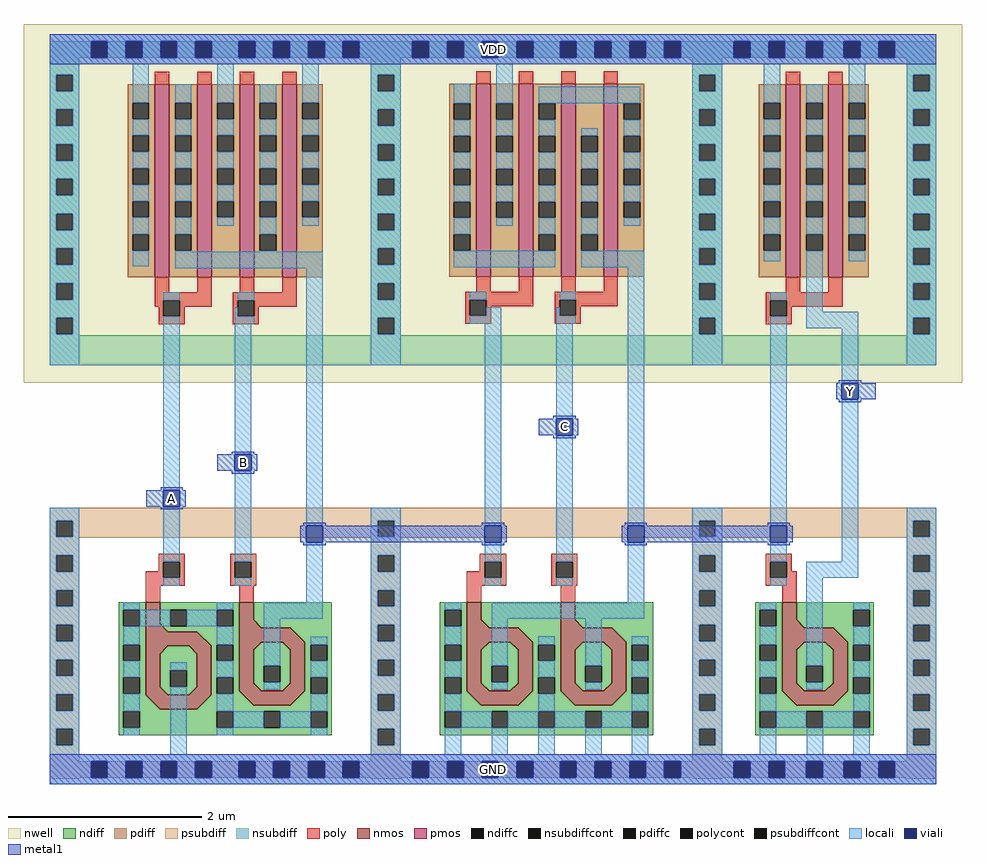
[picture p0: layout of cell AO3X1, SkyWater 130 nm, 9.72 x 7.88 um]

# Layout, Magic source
magic
tech sky130A
magscale 1 2
<< nwell >>
rect -84 832 1860 1575
<< nmos >>
rect 168 316 198 377
tri 198 316 214 332 sw
rect 362 324 392 377
tri 392 324 408 340 sw
rect 168 286 274 316
tri 274 286 304 316 sw
rect 362 294 468 324
tri 468 294 498 324 sw
rect 168 185 198 286
tri 198 270 214 286 nw
tri 258 270 274 286 ne
tri 198 185 214 201 sw
tri 258 185 274 201 se
rect 274 185 304 286
rect 362 193 392 294
tri 392 278 408 294 nw
tri 452 278 468 294 ne
tri 392 193 408 209 sw
tri 452 193 468 209 se
rect 468 193 498 294
tri 168 155 198 185 ne
rect 198 155 274 185
tri 274 155 304 185 nw
tri 362 163 392 193 ne
rect 392 163 468 193
tri 468 163 498 193 nw
rect 834 324 864 377
tri 864 324 880 340 sw
rect 1028 324 1058 377
tri 1058 324 1074 340 sw
rect 834 294 940 324
tri 940 294 970 324 sw
rect 834 193 864 294
tri 864 278 880 294 nw
tri 924 278 940 294 ne
tri 864 193 880 209 sw
tri 924 193 940 209 se
rect 940 193 970 294
rect 1028 294 1134 324
tri 1134 294 1164 324 sw
rect 1028 279 1059 294
tri 1059 279 1074 294 nw
tri 1118 279 1133 294 ne
rect 1133 279 1164 294
tri 834 163 864 193 ne
rect 864 163 940 193
tri 940 163 970 193 nw
rect 1028 193 1058 279
tri 1058 193 1074 209 sw
tri 1118 193 1134 209 se
rect 1134 193 1164 279
tri 1028 163 1058 193 ne
rect 1058 163 1134 193
tri 1134 163 1164 193 nw
rect 1487 324 1517 377
tri 1517 324 1533 340 sw
rect 1487 294 1593 324
tri 1593 294 1623 324 sw
rect 1487 193 1517 294
tri 1517 278 1533 294 nw
tri 1577 278 1593 294 ne
tri 1517 193 1533 209 sw
tri 1577 193 1593 209 se
rect 1593 193 1623 294
tri 1487 163 1517 193 ne
rect 1517 163 1593 193
tri 1593 163 1623 193 nw
<< pmos >>
rect 187 1050 217 1450
rect 275 1050 305 1450
rect 363 1050 393 1450
rect 451 1050 481 1450
rect 853 1051 883 1451
rect 941 1051 971 1451
rect 1029 1051 1059 1451
rect 1117 1051 1147 1451
rect 1495 1050 1525 1450
rect 1583 1050 1613 1450
<< ndiff >>
rect 112 361 168 377
rect 112 327 122 361
rect 156 327 168 361
rect 112 289 168 327
rect 198 361 362 377
rect 198 332 219 361
tri 198 316 214 332 ne
rect 214 327 219 332
rect 253 327 316 361
rect 350 327 362 361
rect 214 316 362 327
rect 392 340 554 377
tri 392 324 408 340 ne
rect 408 324 554 340
rect 112 255 122 289
rect 156 255 168 289
tri 274 286 304 316 ne
rect 304 289 362 316
tri 468 294 498 324 ne
rect 112 221 168 255
rect 112 187 122 221
rect 156 187 168 221
rect 112 155 168 187
tri 198 270 214 286 se
rect 214 270 258 286
tri 258 270 274 286 sw
rect 198 236 274 270
rect 198 202 219 236
rect 253 202 274 236
rect 198 201 274 202
tri 198 185 214 201 ne
rect 214 185 258 201
tri 258 185 274 201 nw
rect 304 255 316 289
rect 350 255 362 289
rect 304 221 362 255
rect 304 187 316 221
rect 350 187 362 221
tri 392 278 408 294 se
rect 408 278 452 294
tri 452 278 468 294 sw
rect 392 245 468 278
rect 392 211 413 245
rect 447 211 468 245
rect 392 209 468 211
tri 392 193 408 209 ne
rect 408 193 452 209
tri 452 193 468 209 nw
rect 498 289 554 324
rect 498 255 510 289
rect 544 255 554 289
rect 498 221 554 255
tri 168 155 198 185 sw
tri 274 155 304 185 se
rect 304 163 362 187
tri 362 163 392 193 sw
tri 468 163 498 193 se
rect 498 187 510 221
rect 544 187 554 221
rect 498 163 554 187
rect 304 155 554 163
rect 112 151 554 155
rect 112 117 122 151
rect 156 117 316 151
rect 350 117 413 151
rect 447 117 510 151
rect 544 117 554 151
rect 112 101 554 117
rect 778 361 834 377
rect 778 327 788 361
rect 822 327 834 361
rect 778 289 834 327
rect 864 340 1028 377
tri 864 324 880 340 ne
rect 880 324 1028 340
rect 1058 340 1220 377
tri 1058 324 1074 340 ne
rect 1074 324 1220 340
tri 940 294 970 324 ne
rect 778 255 788 289
rect 822 255 834 289
rect 778 221 834 255
rect 778 187 788 221
rect 822 187 834 221
tri 864 278 880 294 se
rect 880 278 924 294
tri 924 278 940 294 sw
rect 864 245 940 278
rect 864 211 885 245
rect 919 211 940 245
rect 864 209 940 211
tri 864 193 880 209 ne
rect 880 193 924 209
tri 924 193 940 209 nw
rect 970 289 1028 324
tri 1134 294 1164 324 ne
rect 970 255 982 289
rect 1016 255 1028 289
tri 1059 279 1074 294 se
rect 1074 279 1118 294
tri 1118 279 1133 294 sw
rect 1164 289 1220 324
rect 970 221 1028 255
rect 778 163 834 187
tri 834 163 864 193 sw
tri 940 163 970 193 se
rect 970 187 982 221
rect 1016 187 1028 221
rect 1058 245 1134 279
rect 1058 211 1079 245
rect 1113 211 1134 245
rect 1058 209 1134 211
tri 1058 193 1074 209 ne
rect 1074 193 1118 209
tri 1118 193 1134 209 nw
rect 1164 255 1176 289
rect 1210 255 1220 289
rect 1164 221 1220 255
rect 970 163 1028 187
tri 1028 163 1058 193 sw
tri 1134 163 1164 193 se
rect 1164 187 1176 221
rect 1210 187 1220 221
rect 1164 163 1220 187
rect 778 151 1220 163
rect 778 117 788 151
rect 822 117 885 151
rect 919 117 982 151
rect 1016 117 1079 151
rect 1113 117 1176 151
rect 1210 117 1220 151
rect 778 101 1220 117
rect 1431 361 1487 377
rect 1431 327 1441 361
rect 1475 327 1487 361
rect 1431 289 1487 327
rect 1517 361 1677 377
rect 1517 340 1635 361
tri 1517 324 1533 340 ne
rect 1533 327 1635 340
rect 1669 327 1677 361
rect 1533 324 1677 327
tri 1593 294 1623 324 ne
rect 1431 255 1441 289
rect 1475 255 1487 289
rect 1431 221 1487 255
rect 1431 187 1441 221
rect 1475 187 1487 221
tri 1517 278 1533 294 se
rect 1533 278 1577 294
tri 1577 278 1593 294 sw
rect 1517 245 1593 278
rect 1517 211 1537 245
rect 1571 211 1593 245
rect 1517 209 1593 211
tri 1517 193 1533 209 ne
rect 1533 193 1577 209
tri 1577 193 1593 209 nw
rect 1623 289 1677 324
rect 1623 255 1635 289
rect 1669 255 1677 289
rect 1623 221 1677 255
rect 1431 163 1487 187
tri 1487 163 1517 193 sw
tri 1593 163 1623 193 se
rect 1623 187 1635 221
rect 1669 187 1677 221
rect 1623 163 1677 187
rect 1431 151 1677 163
rect 1431 117 1441 151
rect 1475 117 1537 151
rect 1571 117 1635 151
rect 1669 117 1677 151
rect 1431 101 1677 117
<< pdiff >>
rect 131 1412 187 1450
rect 131 1378 141 1412
rect 175 1378 187 1412
rect 131 1344 187 1378
rect 131 1310 141 1344
rect 175 1310 187 1344
rect 131 1276 187 1310
rect 131 1242 141 1276
rect 175 1242 187 1276
rect 131 1208 187 1242
rect 131 1174 141 1208
rect 175 1174 187 1208
rect 131 1139 187 1174
rect 131 1105 141 1139
rect 175 1105 187 1139
rect 131 1050 187 1105
rect 217 1412 275 1450
rect 217 1378 229 1412
rect 263 1378 275 1412
rect 217 1344 275 1378
rect 217 1310 229 1344
rect 263 1310 275 1344
rect 217 1276 275 1310
rect 217 1242 229 1276
rect 263 1242 275 1276
rect 217 1208 275 1242
rect 217 1174 229 1208
rect 263 1174 275 1208
rect 217 1139 275 1174
rect 217 1105 229 1139
rect 263 1105 275 1139
rect 217 1050 275 1105
rect 305 1412 363 1450
rect 305 1378 317 1412
rect 351 1378 363 1412
rect 305 1344 363 1378
rect 305 1310 317 1344
rect 351 1310 363 1344
rect 305 1276 363 1310
rect 305 1242 317 1276
rect 351 1242 363 1276
rect 305 1208 363 1242
rect 305 1174 317 1208
rect 351 1174 363 1208
rect 305 1050 363 1174
rect 393 1412 451 1450
rect 393 1378 405 1412
rect 439 1378 451 1412
rect 393 1344 451 1378
rect 393 1310 405 1344
rect 439 1310 451 1344
rect 393 1276 451 1310
rect 393 1242 405 1276
rect 439 1242 451 1276
rect 393 1208 451 1242
rect 393 1174 405 1208
rect 439 1174 451 1208
rect 393 1139 451 1174
rect 393 1105 405 1139
rect 439 1105 451 1139
rect 393 1050 451 1105
rect 481 1412 535 1450
rect 481 1378 493 1412
rect 527 1378 535 1412
rect 481 1344 535 1378
rect 481 1310 493 1344
rect 527 1310 535 1344
rect 481 1276 535 1310
rect 481 1242 493 1276
rect 527 1242 535 1276
rect 481 1208 535 1242
rect 481 1174 493 1208
rect 527 1174 535 1208
rect 481 1050 535 1174
rect 797 1411 853 1451
rect 797 1377 807 1411
rect 841 1377 853 1411
rect 797 1343 853 1377
rect 797 1309 807 1343
rect 841 1309 853 1343
rect 797 1275 853 1309
rect 797 1241 807 1275
rect 841 1241 853 1275
rect 797 1207 853 1241
rect 797 1173 807 1207
rect 841 1173 853 1207
rect 797 1139 853 1173
rect 797 1105 807 1139
rect 841 1105 853 1139
rect 797 1051 853 1105
rect 883 1411 941 1451
rect 883 1377 895 1411
rect 929 1377 941 1411
rect 883 1343 941 1377
rect 883 1309 895 1343
rect 929 1309 941 1343
rect 883 1275 941 1309
rect 883 1241 895 1275
rect 929 1241 941 1275
rect 883 1207 941 1241
rect 883 1173 895 1207
rect 929 1173 941 1207
rect 883 1051 941 1173
rect 971 1411 1029 1451
rect 971 1377 983 1411
rect 1017 1377 1029 1411
rect 971 1343 1029 1377
rect 971 1309 983 1343
rect 1017 1309 1029 1343
rect 971 1275 1029 1309
rect 971 1241 983 1275
rect 1017 1241 1029 1275
rect 971 1207 1029 1241
rect 971 1173 983 1207
rect 1017 1173 1029 1207
rect 971 1139 1029 1173
rect 971 1105 983 1139
rect 1017 1105 1029 1139
rect 971 1051 1029 1105
rect 1059 1343 1117 1451
rect 1059 1309 1071 1343
rect 1105 1309 1117 1343
rect 1059 1275 1117 1309
rect 1059 1241 1071 1275
rect 1105 1241 1117 1275
rect 1059 1207 1117 1241
rect 1059 1173 1071 1207
rect 1105 1173 1117 1207
rect 1059 1139 1117 1173
rect 1059 1105 1071 1139
rect 1105 1105 1117 1139
rect 1059 1051 1117 1105
rect 1147 1411 1201 1451
rect 1147 1377 1159 1411
rect 1193 1377 1201 1411
rect 1147 1343 1201 1377
rect 1147 1309 1159 1343
rect 1193 1309 1201 1343
rect 1147 1275 1201 1309
rect 1147 1241 1159 1275
rect 1193 1241 1201 1275
rect 1147 1207 1201 1241
rect 1147 1173 1159 1207
rect 1193 1173 1201 1207
rect 1147 1051 1201 1173
rect 1439 1412 1495 1450
rect 1439 1378 1449 1412
rect 1483 1378 1495 1412
rect 1439 1344 1495 1378
rect 1439 1310 1449 1344
rect 1483 1310 1495 1344
rect 1439 1276 1495 1310
rect 1439 1242 1449 1276
rect 1483 1242 1495 1276
rect 1439 1208 1495 1242
rect 1439 1174 1449 1208
rect 1483 1174 1495 1208
rect 1439 1139 1495 1174
rect 1439 1105 1449 1139
rect 1483 1105 1495 1139
rect 1439 1050 1495 1105
rect 1525 1412 1583 1450
rect 1525 1378 1537 1412
rect 1571 1378 1583 1412
rect 1525 1344 1583 1378
rect 1525 1310 1537 1344
rect 1571 1310 1583 1344
rect 1525 1276 1583 1310
rect 1525 1242 1537 1276
rect 1571 1242 1583 1276
rect 1525 1208 1583 1242
rect 1525 1174 1537 1208
rect 1571 1174 1583 1208
rect 1525 1139 1583 1174
rect 1525 1105 1537 1139
rect 1571 1105 1583 1139
rect 1525 1050 1583 1105
rect 1613 1412 1667 1450
rect 1613 1378 1625 1412
rect 1659 1378 1667 1412
rect 1613 1344 1667 1378
rect 1613 1310 1625 1344
rect 1659 1310 1667 1344
rect 1613 1276 1667 1310
rect 1613 1242 1625 1276
rect 1659 1242 1667 1276
rect 1613 1208 1667 1242
rect 1613 1174 1625 1208
rect 1659 1174 1667 1208
rect 1613 1139 1667 1174
rect 1613 1105 1625 1139
rect 1659 1105 1667 1139
rect 1613 1050 1667 1105
<< ndiffc >>
rect 122 327 156 361
rect 219 327 253 361
rect 316 327 350 361
rect 122 255 156 289
rect 122 187 156 221
rect 219 202 253 236
rect 316 255 350 289
rect 316 187 350 221
rect 413 211 447 245
rect 510 255 544 289
rect 510 187 544 221
rect 122 117 156 151
rect 316 117 350 151
rect 413 117 447 151
rect 510 117 544 151
rect 788 327 822 361
rect 788 255 822 289
rect 788 187 822 221
rect 885 211 919 245
rect 982 255 1016 289
rect 982 187 1016 221
rect 1079 211 1113 245
rect 1176 255 1210 289
rect 1176 187 1210 221
rect 788 117 822 151
rect 885 117 919 151
rect 982 117 1016 151
rect 1079 117 1113 151
rect 1176 117 1210 151
rect 1441 327 1475 361
rect 1635 327 1669 361
rect 1441 255 1475 289
rect 1441 187 1475 221
rect 1537 211 1571 245
rect 1635 255 1669 289
rect 1635 187 1669 221
rect 1441 117 1475 151
rect 1537 117 1571 151
rect 1635 117 1669 151
<< pdiffc >>
rect 141 1378 175 1412
rect 141 1310 175 1344
rect 141 1242 175 1276
rect 141 1174 175 1208
rect 141 1105 175 1139
rect 229 1378 263 1412
rect 229 1310 263 1344
rect 229 1242 263 1276
rect 229 1174 263 1208
rect 229 1105 263 1139
rect 317 1378 351 1412
rect 317 1310 351 1344
rect 317 1242 351 1276
rect 317 1174 351 1208
rect 405 1378 439 1412
rect 405 1310 439 1344
rect 405 1242 439 1276
rect 405 1174 439 1208
rect 405 1105 439 1139
rect 493 1378 527 1412
rect 493 1310 527 1344
rect 493 1242 527 1276
rect 493 1174 527 1208
rect 807 1377 841 1411
rect 807 1309 841 1343
rect 807 1241 841 1275
rect 807 1173 841 1207
rect 807 1105 841 1139
rect 895 1377 929 1411
rect 895 1309 929 1343
rect 895 1241 929 1275
rect 895 1173 929 1207
rect 983 1377 1017 1411
rect 983 1309 1017 1343
rect 983 1241 1017 1275
rect 983 1173 1017 1207
rect 983 1105 1017 1139
rect 1071 1309 1105 1343
rect 1071 1241 1105 1275
rect 1071 1173 1105 1207
rect 1071 1105 1105 1139
rect 1159 1377 1193 1411
rect 1159 1309 1193 1343
rect 1159 1241 1193 1275
rect 1159 1173 1193 1207
rect 1449 1378 1483 1412
rect 1449 1310 1483 1344
rect 1449 1242 1483 1276
rect 1449 1174 1483 1208
rect 1449 1105 1483 1139
rect 1537 1378 1571 1412
rect 1537 1310 1571 1344
rect 1537 1242 1571 1276
rect 1537 1174 1571 1208
rect 1537 1105 1571 1139
rect 1625 1378 1659 1412
rect 1625 1310 1659 1344
rect 1625 1242 1659 1276
rect 1625 1174 1659 1208
rect 1625 1105 1659 1139
<< psubdiff >>
rect -31 546 1807 572
rect -31 512 -17 546
rect 17 512 649 546
rect 683 512 1315 546
rect 1349 512 1759 546
rect 1793 512 1807 546
rect -31 510 1807 512
rect -31 474 31 510
rect -31 440 -17 474
rect 17 440 31 474
rect -31 402 31 440
rect -31 368 -17 402
rect 17 368 31 402
rect 635 474 697 510
rect 635 440 649 474
rect 683 440 697 474
rect 635 402 697 440
rect -31 330 31 368
rect -31 296 -17 330
rect 17 296 31 330
rect -31 258 31 296
rect -31 224 -17 258
rect 17 224 31 258
rect -31 186 31 224
rect -31 152 -17 186
rect 17 152 31 186
rect -31 114 31 152
rect -31 80 -17 114
rect 17 80 31 114
rect 635 368 649 402
rect 683 368 697 402
rect 1301 474 1363 510
rect 1301 440 1315 474
rect 1349 440 1363 474
rect 1301 402 1363 440
rect 1745 474 1807 510
rect 635 330 697 368
rect 635 296 649 330
rect 683 296 697 330
rect 635 258 697 296
rect 635 224 649 258
rect 683 224 697 258
rect 635 186 697 224
rect 635 152 649 186
rect 683 152 697 186
rect 635 114 697 152
rect -31 47 31 80
rect 635 80 649 114
rect 683 80 697 114
rect 1301 368 1315 402
rect 1349 368 1363 402
rect 1745 440 1759 474
rect 1793 440 1807 474
rect 1745 402 1807 440
rect 1301 330 1363 368
rect 1301 296 1315 330
rect 1349 296 1363 330
rect 1301 258 1363 296
rect 1301 224 1315 258
rect 1349 224 1363 258
rect 1301 186 1363 224
rect 1301 152 1315 186
rect 1349 152 1363 186
rect 1301 114 1363 152
rect 635 47 697 80
rect 1301 80 1315 114
rect 1349 80 1363 114
rect 1745 368 1759 402
rect 1793 368 1807 402
rect 1745 330 1807 368
rect 1745 296 1759 330
rect 1793 296 1807 330
rect 1745 258 1807 296
rect 1745 224 1759 258
rect 1793 224 1807 258
rect 1745 186 1807 224
rect 1745 152 1759 186
rect 1793 152 1807 186
rect 1745 114 1807 152
rect 1301 47 1363 80
rect 1745 80 1759 114
rect 1793 80 1807 114
rect 1745 47 1807 80
rect -31 13 55 47
rect 89 13 127 47
rect 161 13 199 47
rect 233 13 271 47
rect 305 13 361 47
rect 395 13 433 47
rect 467 13 505 47
rect 539 13 577 47
rect 611 13 721 47
rect 755 13 793 47
rect 827 13 865 47
rect 899 13 937 47
rect 971 13 1027 47
rect 1061 13 1099 47
rect 1133 13 1171 47
rect 1205 13 1243 47
rect 1277 13 1387 47
rect 1421 13 1459 47
rect 1493 13 1537 47
rect 1571 13 1615 47
rect 1649 13 1687 47
rect 1721 13 1807 47
rect -31 11 31 13
rect 635 11 697 13
rect 1301 11 1363 13
rect 1745 11 1807 13
<< nsubdiff >>
rect -31 1505 55 1539
rect 89 1505 127 1539
rect 161 1505 199 1539
rect 233 1505 271 1539
rect 305 1505 361 1539
rect 395 1505 433 1539
rect 467 1505 505 1539
rect 539 1505 577 1539
rect 611 1505 721 1539
rect 755 1505 793 1539
rect 827 1505 865 1539
rect 899 1505 937 1539
rect 971 1505 1027 1539
rect 1061 1505 1099 1539
rect 1133 1505 1171 1539
rect 1205 1505 1243 1539
rect 1277 1505 1387 1539
rect 1421 1505 1459 1539
rect 1493 1505 1537 1539
rect 1571 1505 1615 1539
rect 1649 1505 1687 1539
rect 1721 1505 1807 1539
rect -31 1470 31 1505
rect -31 1436 -17 1470
rect 17 1436 31 1470
rect 635 1470 697 1505
rect -31 1398 31 1436
rect -31 1364 -17 1398
rect 17 1364 31 1398
rect -31 1326 31 1364
rect -31 1292 -17 1326
rect 17 1292 31 1326
rect -31 1254 31 1292
rect -31 1220 -17 1254
rect 17 1220 31 1254
rect -31 1182 31 1220
rect -31 1148 -17 1182
rect 17 1148 31 1182
rect -31 1110 31 1148
rect -31 1076 -17 1110
rect 17 1076 31 1110
rect -31 1038 31 1076
rect 635 1436 649 1470
rect 683 1436 697 1470
rect 1301 1470 1363 1505
rect 635 1398 697 1436
rect 635 1364 649 1398
rect 683 1364 697 1398
rect 635 1326 697 1364
rect 635 1292 649 1326
rect 683 1292 697 1326
rect 635 1254 697 1292
rect 635 1220 649 1254
rect 683 1220 697 1254
rect 635 1182 697 1220
rect 635 1148 649 1182
rect 683 1148 697 1182
rect 635 1110 697 1148
rect 635 1076 649 1110
rect 683 1076 697 1110
rect -31 1004 -17 1038
rect 17 1004 31 1038
rect -31 966 31 1004
rect -31 932 -17 966
rect 17 932 31 966
rect 635 1038 697 1076
rect 1301 1436 1315 1470
rect 1349 1436 1363 1470
rect 1745 1470 1807 1505
rect 1301 1398 1363 1436
rect 1301 1364 1315 1398
rect 1349 1364 1363 1398
rect 1301 1326 1363 1364
rect 1301 1292 1315 1326
rect 1349 1292 1363 1326
rect 1301 1254 1363 1292
rect 1301 1220 1315 1254
rect 1349 1220 1363 1254
rect 1301 1182 1363 1220
rect 1301 1148 1315 1182
rect 1349 1148 1363 1182
rect 1301 1110 1363 1148
rect 1301 1076 1315 1110
rect 1349 1076 1363 1110
rect 635 1004 649 1038
rect 683 1004 697 1038
rect 635 966 697 1004
rect -31 930 31 932
rect 635 932 649 966
rect 683 932 697 966
rect 1301 1038 1363 1076
rect 1745 1436 1759 1470
rect 1793 1436 1807 1470
rect 1745 1398 1807 1436
rect 1745 1364 1759 1398
rect 1793 1364 1807 1398
rect 1745 1326 1807 1364
rect 1745 1292 1759 1326
rect 1793 1292 1807 1326
rect 1745 1254 1807 1292
rect 1745 1220 1759 1254
rect 1793 1220 1807 1254
rect 1745 1182 1807 1220
rect 1745 1148 1759 1182
rect 1793 1148 1807 1182
rect 1745 1110 1807 1148
rect 1745 1076 1759 1110
rect 1793 1076 1807 1110
rect 1301 1004 1315 1038
rect 1349 1004 1363 1038
rect 1301 966 1363 1004
rect 635 930 697 932
rect 1301 932 1315 966
rect 1349 932 1363 966
rect 1745 1038 1807 1076
rect 1745 1004 1759 1038
rect 1793 1004 1807 1038
rect 1745 966 1807 1004
rect 1301 930 1363 932
rect 1745 932 1759 966
rect 1793 932 1807 966
rect 1745 930 1807 932
rect -31 868 1807 930
<< psubdiffcont >>
rect -17 512 17 546
rect 649 512 683 546
rect 1315 512 1349 546
rect 1759 512 1793 546
rect -17 440 17 474
rect -17 368 17 402
rect 649 440 683 474
rect -17 296 17 330
rect -17 224 17 258
rect -17 152 17 186
rect -17 80 17 114
rect 649 368 683 402
rect 1315 440 1349 474
rect 649 296 683 330
rect 649 224 683 258
rect 649 152 683 186
rect 649 80 683 114
rect 1315 368 1349 402
rect 1759 440 1793 474
rect 1315 296 1349 330
rect 1315 224 1349 258
rect 1315 152 1349 186
rect 1315 80 1349 114
rect 1759 368 1793 402
rect 1759 296 1793 330
rect 1759 224 1793 258
rect 1759 152 1793 186
rect 1759 80 1793 114
rect 55 13 89 47
rect 127 13 161 47
rect 199 13 233 47
rect 271 13 305 47
rect 361 13 395 47
rect 433 13 467 47
rect 505 13 539 47
rect 577 13 611 47
rect 721 13 755 47
rect 793 13 827 47
rect 865 13 899 47
rect 937 13 971 47
rect 1027 13 1061 47
rect 1099 13 1133 47
rect 1171 13 1205 47
rect 1243 13 1277 47
rect 1387 13 1421 47
rect 1459 13 1493 47
rect 1537 13 1571 47
rect 1615 13 1649 47
rect 1687 13 1721 47
<< nsubdiffcont >>
rect 55 1505 89 1539
rect 127 1505 161 1539
rect 199 1505 233 1539
rect 271 1505 305 1539
rect 361 1505 395 1539
rect 433 1505 467 1539
rect 505 1505 539 1539
rect 577 1505 611 1539
rect 721 1505 755 1539
rect 793 1505 827 1539
rect 865 1505 899 1539
rect 937 1505 971 1539
rect 1027 1505 1061 1539
rect 1099 1505 1133 1539
rect 1171 1505 1205 1539
rect 1243 1505 1277 1539
rect 1387 1505 1421 1539
rect 1459 1505 1493 1539
rect 1537 1505 1571 1539
rect 1615 1505 1649 1539
rect 1687 1505 1721 1539
rect -17 1436 17 1470
rect -17 1364 17 1398
rect -17 1292 17 1326
rect -17 1220 17 1254
rect -17 1148 17 1182
rect -17 1076 17 1110
rect 649 1436 683 1470
rect 649 1364 683 1398
rect 649 1292 683 1326
rect 649 1220 683 1254
rect 649 1148 683 1182
rect 649 1076 683 1110
rect -17 1004 17 1038
rect -17 932 17 966
rect 1315 1436 1349 1470
rect 1315 1364 1349 1398
rect 1315 1292 1349 1326
rect 1315 1220 1349 1254
rect 1315 1148 1349 1182
rect 1315 1076 1349 1110
rect 649 1004 683 1038
rect 649 932 683 966
rect 1759 1436 1793 1470
rect 1759 1364 1793 1398
rect 1759 1292 1793 1326
rect 1759 1220 1793 1254
rect 1759 1148 1793 1182
rect 1759 1076 1793 1110
rect 1315 1004 1349 1038
rect 1315 932 1349 966
rect 1759 1004 1793 1038
rect 1759 932 1793 966
<< poly >>
rect 187 1450 217 1476
rect 275 1450 305 1476
rect 363 1450 393 1476
rect 451 1450 481 1476
rect 853 1451 883 1477
rect 941 1451 971 1477
rect 1029 1451 1059 1477
rect 1117 1451 1147 1477
rect 187 1019 217 1050
rect 275 1019 305 1050
rect 363 1019 393 1050
rect 451 1019 481 1050
rect 187 1003 305 1019
rect 187 989 205 1003
rect 195 969 205 989
rect 239 989 305 1003
rect 349 1003 481 1019
rect 239 969 249 989
rect 195 953 249 969
rect 349 969 359 1003
rect 393 989 481 1003
rect 1495 1450 1525 1476
rect 1583 1450 1613 1476
rect 853 1020 883 1051
rect 941 1020 971 1051
rect 1029 1020 1059 1051
rect 1117 1020 1147 1051
rect 393 969 403 989
rect 349 953 403 969
rect 830 1004 971 1020
rect 830 970 840 1004
rect 874 990 971 1004
rect 1016 1004 1147 1020
rect 874 970 884 990
rect 830 954 884 970
rect 1016 970 1026 1004
rect 1060 990 1147 1004
rect 1495 1019 1525 1050
rect 1583 1019 1613 1050
rect 1060 970 1070 990
rect 1016 954 1070 970
rect 1453 1003 1613 1019
rect 1453 969 1463 1003
rect 1497 989 1613 1003
rect 1497 969 1507 989
rect 1453 953 1507 969
rect 195 461 249 477
rect 195 441 205 461
rect 168 427 205 441
rect 239 427 249 461
rect 168 411 249 427
rect 343 461 397 477
rect 343 427 353 461
rect 387 427 397 461
rect 343 411 397 427
rect 861 461 915 477
rect 861 441 871 461
rect 168 377 198 411
rect 362 377 392 411
rect 834 427 871 441
rect 905 427 915 461
rect 834 411 915 427
rect 1009 461 1063 477
rect 1009 427 1019 461
rect 1053 427 1063 461
rect 1009 411 1063 427
rect 834 377 864 411
rect 1028 377 1058 411
rect 1453 461 1507 477
rect 1453 427 1463 461
rect 1497 441 1507 461
rect 1497 427 1517 441
rect 1453 411 1517 427
rect 1487 377 1517 411
<< polycont >>
rect 205 969 239 1003
rect 359 969 393 1003
rect 840 970 874 1004
rect 1026 970 1060 1004
rect 1463 969 1497 1003
rect 205 427 239 461
rect 353 427 387 461
rect 871 427 905 461
rect 1019 427 1053 461
rect 1463 427 1497 461
<< locali >>
rect -31 1539 1807 1554
rect -31 1505 55 1539
rect 89 1505 127 1539
rect 161 1505 199 1539
rect 233 1505 271 1539
rect 305 1505 361 1539
rect 395 1505 433 1539
rect 467 1505 505 1539
rect 539 1505 577 1539
rect 611 1505 721 1539
rect 755 1505 793 1539
rect 827 1505 865 1539
rect 899 1505 937 1539
rect 971 1505 1027 1539
rect 1061 1505 1099 1539
rect 1133 1505 1171 1539
rect 1205 1505 1243 1539
rect 1277 1505 1387 1539
rect 1421 1505 1459 1539
rect 1493 1505 1537 1539
rect 1571 1505 1615 1539
rect 1649 1505 1687 1539
rect 1721 1505 1807 1539
rect -31 1492 1807 1505
rect -31 1470 31 1492
rect -31 1436 -17 1470
rect 17 1436 31 1470
rect -31 1398 31 1436
rect -31 1364 -17 1398
rect 17 1364 31 1398
rect -31 1326 31 1364
rect -31 1292 -17 1326
rect 17 1292 31 1326
rect -31 1254 31 1292
rect -31 1220 -17 1254
rect 17 1220 31 1254
rect -31 1182 31 1220
rect -31 1148 -17 1182
rect 17 1148 31 1182
rect -31 1110 31 1148
rect -31 1076 -17 1110
rect 17 1076 31 1110
rect -31 1038 31 1076
rect 141 1412 175 1492
rect 141 1344 175 1378
rect 141 1276 175 1310
rect 141 1208 175 1242
rect 141 1139 175 1174
rect 141 1073 175 1105
rect 229 1412 263 1450
rect 229 1344 263 1378
rect 229 1276 263 1310
rect 229 1208 263 1242
rect 229 1139 263 1174
rect 317 1412 351 1492
rect 317 1344 351 1378
rect 317 1276 351 1310
rect 317 1208 351 1242
rect 317 1157 351 1174
rect 405 1412 439 1450
rect 405 1344 439 1378
rect 405 1276 439 1310
rect 405 1208 439 1242
rect 229 1103 263 1105
rect 405 1139 439 1174
rect 493 1412 527 1492
rect 493 1344 527 1378
rect 493 1276 527 1310
rect 493 1208 527 1242
rect 493 1157 527 1174
rect 635 1470 697 1492
rect 635 1436 649 1470
rect 683 1436 697 1470
rect 635 1398 697 1436
rect 635 1364 649 1398
rect 683 1364 697 1398
rect 635 1326 697 1364
rect 635 1292 649 1326
rect 683 1292 697 1326
rect 635 1254 697 1292
rect 635 1220 649 1254
rect 683 1220 697 1254
rect 635 1182 697 1220
rect 405 1103 439 1105
rect 635 1148 649 1182
rect 683 1148 697 1182
rect 635 1110 697 1148
rect 229 1069 535 1103
rect -31 1004 -17 1038
rect 17 1004 31 1038
rect -31 966 31 1004
rect -31 932 -17 966
rect 17 932 31 966
rect -31 868 31 932
rect 205 1003 239 1019
rect 359 1003 393 1019
rect 205 609 239 969
rect -31 546 31 572
rect -31 512 -17 546
rect 17 512 31 546
rect -31 474 31 512
rect -31 440 -17 474
rect 17 440 31 474
rect -31 402 31 440
rect 205 461 239 575
rect 205 411 239 427
rect 353 969 359 988
rect 353 953 393 969
rect 353 683 387 953
rect 353 461 387 649
rect 353 411 387 427
rect 501 535 535 1069
rect 635 1076 649 1110
rect 683 1076 697 1110
rect 635 1038 697 1076
rect 807 1411 841 1451
rect 807 1343 841 1377
rect 807 1275 841 1309
rect 807 1207 841 1241
rect 807 1139 841 1173
rect 895 1411 929 1492
rect 1301 1470 1363 1492
rect 895 1343 929 1377
rect 895 1275 929 1309
rect 895 1207 929 1241
rect 895 1157 929 1173
rect 983 1411 1193 1445
rect 983 1343 1017 1377
rect 983 1275 1017 1309
rect 983 1207 1017 1241
rect 983 1139 1017 1173
rect 807 1071 1017 1105
rect 1071 1343 1105 1359
rect 1071 1275 1105 1309
rect 1071 1207 1105 1241
rect 1071 1139 1105 1173
rect 1159 1343 1193 1377
rect 1159 1275 1193 1309
rect 1159 1207 1193 1241
rect 1159 1157 1193 1173
rect 1301 1436 1315 1470
rect 1349 1436 1363 1470
rect 1301 1398 1363 1436
rect 1301 1364 1315 1398
rect 1349 1364 1363 1398
rect 1301 1326 1363 1364
rect 1301 1292 1315 1326
rect 1349 1292 1363 1326
rect 1301 1254 1363 1292
rect 1301 1220 1315 1254
rect 1349 1220 1363 1254
rect 1301 1182 1363 1220
rect 1301 1148 1315 1182
rect 1349 1148 1363 1182
rect 1301 1110 1363 1148
rect 1071 1071 1201 1105
rect 635 1004 649 1038
rect 683 1004 697 1038
rect 635 966 697 1004
rect 635 932 649 966
rect 683 932 697 966
rect 840 1004 874 1020
rect 1026 1004 1060 1020
rect 874 970 905 988
rect 840 954 905 970
rect 635 868 697 932
rect -31 368 -17 402
rect 17 368 31 402
rect -31 330 31 368
rect -31 296 -17 330
rect 17 296 31 330
rect -31 258 31 296
rect -31 224 -17 258
rect 17 224 31 258
rect -31 186 31 224
rect -31 152 -17 186
rect 17 152 31 186
rect -31 114 31 152
rect -31 80 -17 114
rect 17 80 31 114
rect 122 361 156 377
rect 316 361 350 377
rect 501 376 535 501
rect 156 327 219 361
rect 253 327 316 361
rect 122 289 156 327
rect 122 221 156 255
rect 316 289 350 327
rect 122 151 156 187
rect 122 101 156 117
rect 219 236 253 252
rect -31 62 31 80
rect 219 62 253 202
rect 316 221 350 255
rect 413 342 535 376
rect 635 546 697 572
rect 635 512 649 546
rect 683 512 697 546
rect 635 474 697 512
rect 635 440 649 474
rect 683 440 697 474
rect 635 402 697 440
rect 871 535 905 954
rect 871 461 905 501
rect 871 411 905 427
rect 1019 970 1026 988
rect 1019 954 1060 970
rect 1019 757 1053 954
rect 1019 461 1053 723
rect 1019 411 1053 427
rect 1167 535 1201 1071
rect 1301 1076 1315 1110
rect 1349 1076 1363 1110
rect 1449 1412 1483 1492
rect 1449 1344 1483 1378
rect 1449 1276 1483 1310
rect 1449 1208 1483 1242
rect 1449 1139 1483 1174
rect 1449 1083 1483 1105
rect 1537 1412 1571 1450
rect 1537 1344 1571 1378
rect 1537 1276 1571 1310
rect 1537 1208 1571 1242
rect 1537 1139 1571 1174
rect 1301 1038 1363 1076
rect 1301 1004 1315 1038
rect 1349 1004 1363 1038
rect 1301 966 1363 1004
rect 1301 932 1315 966
rect 1349 932 1363 966
rect 1301 868 1363 932
rect 1463 1003 1497 1019
rect 635 368 649 402
rect 683 368 697 402
rect 413 245 447 342
rect 635 330 697 368
rect 413 195 447 211
rect 510 289 544 305
rect 510 221 544 255
rect 316 151 350 187
rect 510 151 544 187
rect 350 117 413 151
rect 447 117 510 151
rect 316 101 350 117
rect 510 101 544 117
rect 635 296 649 330
rect 683 296 697 330
rect 635 258 697 296
rect 635 224 649 258
rect 683 224 697 258
rect 635 186 697 224
rect 635 152 649 186
rect 683 152 697 186
rect 635 114 697 152
rect 635 80 649 114
rect 683 80 697 114
rect 635 62 697 80
rect 788 361 822 377
rect 1167 376 1201 501
rect 788 289 822 327
rect 788 221 822 255
rect 885 342 1201 376
rect 1301 546 1363 572
rect 1301 512 1315 546
rect 1349 512 1363 546
rect 1301 474 1363 512
rect 1301 440 1315 474
rect 1349 440 1363 474
rect 1301 402 1363 440
rect 1463 535 1497 969
rect 1537 979 1571 1105
rect 1625 1412 1659 1492
rect 1625 1344 1659 1378
rect 1625 1276 1659 1310
rect 1625 1208 1659 1242
rect 1625 1139 1659 1174
rect 1625 1083 1659 1105
rect 1745 1470 1807 1492
rect 1745 1436 1759 1470
rect 1793 1436 1807 1470
rect 1745 1398 1807 1436
rect 1745 1364 1759 1398
rect 1793 1364 1807 1398
rect 1745 1326 1807 1364
rect 1745 1292 1759 1326
rect 1793 1292 1807 1326
rect 1745 1254 1807 1292
rect 1745 1220 1759 1254
rect 1793 1220 1807 1254
rect 1745 1182 1807 1220
rect 1745 1148 1759 1182
rect 1793 1148 1807 1182
rect 1745 1110 1807 1148
rect 1745 1076 1759 1110
rect 1793 1076 1807 1110
rect 1745 1038 1807 1076
rect 1745 1004 1759 1038
rect 1793 1004 1807 1038
rect 1537 945 1645 979
rect 1463 461 1497 501
rect 1611 831 1645 945
rect 1745 966 1807 1004
rect 1745 932 1759 966
rect 1793 932 1807 966
rect 1745 868 1807 932
rect 1611 461 1645 797
rect 1463 411 1497 427
rect 1537 427 1645 461
rect 1745 546 1807 572
rect 1745 512 1759 546
rect 1793 512 1807 546
rect 1745 474 1807 512
rect 1745 440 1759 474
rect 1793 440 1807 474
rect 1301 368 1315 402
rect 1349 368 1363 402
rect 885 245 919 342
rect 885 195 919 211
rect 982 289 1016 306
rect 982 221 1016 255
rect 788 151 822 187
rect 1079 245 1113 342
rect 1301 330 1363 368
rect 1079 195 1113 211
rect 1176 289 1210 306
rect 1176 221 1210 255
rect 982 151 1016 187
rect 1176 151 1210 187
rect 822 117 885 151
rect 919 117 982 151
rect 1016 117 1079 151
rect 1113 117 1176 151
rect 788 62 822 117
rect 885 62 919 117
rect 982 62 1016 117
rect 1079 62 1113 117
rect 1176 62 1210 117
rect 1301 296 1315 330
rect 1349 296 1363 330
rect 1301 258 1363 296
rect 1301 224 1315 258
rect 1349 224 1363 258
rect 1301 186 1363 224
rect 1301 152 1315 186
rect 1349 152 1363 186
rect 1301 114 1363 152
rect 1301 80 1315 114
rect 1349 80 1363 114
rect 1301 62 1363 80
rect 1441 361 1475 377
rect 1441 289 1475 327
rect 1441 221 1475 255
rect 1537 245 1571 427
rect 1745 402 1807 440
rect 1537 195 1571 211
rect 1635 361 1669 377
rect 1635 289 1669 327
rect 1635 221 1669 255
rect 1441 151 1475 187
rect 1635 151 1669 187
rect 1475 117 1537 151
rect 1571 117 1635 151
rect 1441 62 1475 117
rect 1538 62 1572 117
rect 1635 62 1669 117
rect 1745 368 1759 402
rect 1793 368 1807 402
rect 1745 330 1807 368
rect 1745 296 1759 330
rect 1793 296 1807 330
rect 1745 258 1807 296
rect 1745 224 1759 258
rect 1793 224 1807 258
rect 1745 186 1807 224
rect 1745 152 1759 186
rect 1793 152 1807 186
rect 1745 114 1807 152
rect 1745 80 1759 114
rect 1793 80 1807 114
rect 1745 62 1807 80
rect -31 47 1807 62
rect -31 13 55 47
rect 89 13 127 47
rect 161 13 199 47
rect 233 13 271 47
rect 305 13 361 47
rect 395 13 433 47
rect 467 13 505 47
rect 539 13 577 47
rect 611 13 721 47
rect 755 13 793 47
rect 827 13 865 47
rect 899 13 937 47
rect 971 13 1027 47
rect 1061 13 1099 47
rect 1133 13 1171 47
rect 1205 13 1243 47
rect 1277 13 1387 47
rect 1421 13 1459 47
rect 1493 13 1537 47
rect 1571 13 1615 47
rect 1649 13 1687 47
rect 1721 13 1807 47
rect -31 0 1807 13
<< viali >>
rect 55 1505 89 1539
rect 127 1505 161 1539
rect 199 1505 233 1539
rect 271 1505 305 1539
rect 361 1505 395 1539
rect 433 1505 467 1539
rect 505 1505 539 1539
rect 577 1505 611 1539
rect 721 1505 755 1539
rect 793 1505 827 1539
rect 865 1505 899 1539
rect 937 1505 971 1539
rect 1027 1505 1061 1539
rect 1099 1505 1133 1539
rect 1171 1505 1205 1539
rect 1243 1505 1277 1539
rect 1387 1505 1421 1539
rect 1459 1505 1493 1539
rect 1537 1505 1571 1539
rect 1615 1505 1649 1539
rect 1687 1505 1721 1539
rect 205 575 239 609
rect 353 649 387 683
rect 501 501 535 535
rect 871 501 905 535
rect 1019 723 1053 757
rect 1167 501 1201 535
rect 1463 501 1497 535
rect 1611 797 1645 831
rect 55 13 89 47
rect 127 13 161 47
rect 199 13 233 47
rect 271 13 305 47
rect 361 13 395 47
rect 433 13 467 47
rect 505 13 539 47
rect 577 13 611 47
rect 721 13 755 47
rect 793 13 827 47
rect 865 13 899 47
rect 937 13 971 47
rect 1027 13 1061 47
rect 1099 13 1133 47
rect 1171 13 1205 47
rect 1243 13 1277 47
rect 1387 13 1421 47
rect 1459 13 1493 47
rect 1537 13 1571 47
rect 1615 13 1649 47
rect 1687 13 1721 47
<< metal1 >>
rect -31 1539 1807 1554
rect -31 1505 55 1539
rect 89 1505 127 1539
rect 161 1505 199 1539
rect 233 1505 271 1539
rect 305 1505 361 1539
rect 395 1505 433 1539
rect 467 1505 505 1539
rect 539 1505 577 1539
rect 611 1505 721 1539
rect 755 1505 793 1539
rect 827 1505 865 1539
rect 899 1505 937 1539
rect 971 1505 1027 1539
rect 1061 1505 1099 1539
rect 1133 1505 1171 1539
rect 1205 1505 1243 1539
rect 1277 1505 1387 1539
rect 1421 1505 1459 1539
rect 1493 1505 1537 1539
rect 1571 1505 1615 1539
rect 1649 1505 1687 1539
rect 1721 1505 1807 1539
rect -31 1492 1807 1505
rect 1605 831 1651 837
rect 1599 797 1611 831
rect 1645 797 1681 831
rect 1605 791 1651 797
rect 1013 757 1059 763
rect 983 723 1019 757
rect 1053 723 1065 757
rect 1013 717 1059 723
rect 347 683 393 689
rect 317 649 353 683
rect 387 649 399 683
rect 347 643 393 649
rect 199 609 245 615
rect 169 575 205 609
rect 239 575 251 609
rect 199 569 245 575
rect 495 535 541 541
rect 865 535 911 541
rect 1161 535 1207 541
rect 1457 535 1503 541
rect 489 501 501 535
rect 535 501 871 535
rect 905 501 917 535
rect 1155 501 1167 535
rect 1201 501 1463 535
rect 1497 501 1509 535
rect 495 495 541 501
rect 865 495 911 501
rect 1161 495 1207 501
rect 1457 495 1503 501
rect -31 47 1807 62
rect -31 13 55 47
rect 89 13 127 47
rect 161 13 199 47
rect 233 13 271 47
rect 305 13 361 47
rect 395 13 433 47
rect 467 13 505 47
rect 539 13 577 47
rect 611 13 721 47
rect 755 13 793 47
rect 827 13 865 47
rect 899 13 937 47
rect 971 13 1027 47
rect 1061 13 1099 47
rect 1133 13 1171 47
rect 1205 13 1243 47
rect 1277 13 1387 47
rect 1421 13 1459 47
rect 1493 13 1537 47
rect 1571 13 1615 47
rect 1649 13 1687 47
rect 1721 13 1807 47
rect -31 0 1807 13
<< labels >>
rlabel metal1 205 575 239 609 1 A
port 1 n
rlabel metal1 353 649 387 683 1 B
port 2 n
rlabel metal1 1019 723 1053 757 1 C
port 3 n
rlabel metal1 1611 797 1645 831 1 Y
port 4 n
rlabel metal1 -31 1492 1807 1554 1 VDD
port 5 n
rlabel metal1 -31 0 1807 62 1 GND
port 6 n
<< end >>
